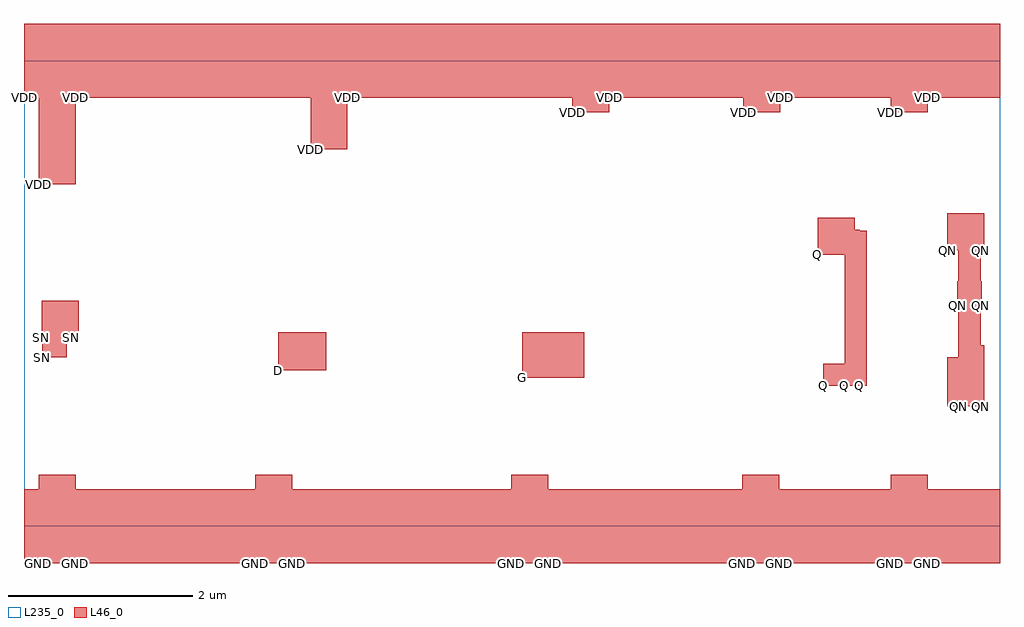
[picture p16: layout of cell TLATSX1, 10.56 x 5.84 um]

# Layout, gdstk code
import gdstk
lib = gdstk.Library(unit=1e-6, precision=1e-09)
def R(c, l, rs):  # rectangles x0, y0, x1, y1
    for r in rs: c.add(gdstk.rectangle(r[:2], r[2:], *l))
L46_0 = (46, 0)
L235_0 = (235, 0)

tlatsx1 = lib.new_cell('TLATSX1')
R(tlatsx1, L46_0, [(0,-0.4,0.16,0.4), (0.16,-0.4,0.56,0.56), (0.56,-0.4,2.5,0.4), (2.5,-0.4,2.9,0.56), (2.9,-0.4,5.27,0.4), (5.27,-0.4,5.67,0.56), (5.67,-0.4,7.77,0.4), (7.77,-0.4,8.17,0.56), (8.17,-0.4,9.38,0.4), (9.38,-0.4,9.78,0.56), (9.78,-0.4,10.56,0.4), (9.99,1.3,10.11,1.83), (10.11,1.3,10.35,3.39), (10.35,1.3,10.39,1.96), (8.65,1.52,8.88,1.76), (8.88,1.52,8.99,3.34), (8.99,1.52,9.04,3.21), (9.04,1.52,9.12,3.2), (5.39,1.61,6.06,2.1), (2.75,1.69,3.27,2.1), (0.2,1.83,0.46,2.44), (0.46,2.01,0.51,2.44), (0.19,2.04,0.2,2.44), (0.51,2.04,0.59,2.44), (10.1,2.39,10.11,2.65), (10.35,2.39,10.36,2.65), (8.59,2.94,8.88,3.34), (9.99,2.99,10.11,3.39), (10.35,2.99,10.39,3.39), (0.16,3.7,0.56,5.44), (3.1,4.08,3.5,5.44), (5.93,4.48,6.33,5.44), (7.78,4.48,8.18,5.44), (9.38,4.48,9.78,5.44), (0,4.64,0.16,5.44), (0.56,4.64,3.1,5.44), (3.5,4.64,5.93,5.44), (6.33,4.64,7.78,5.44), (8.18,4.64,9.38,5.44), (9.78,4.64,10.56,5.44)])
R(tlatsx1, L235_0, [(0,0,10.56,5.04)])
tlatsx1.add(gdstk.Label('SN', (0.51,2.04), layer=101, texttype=0))
tlatsx1.add(gdstk.Label('SN', (0.46,2.01), layer=101, texttype=0))
tlatsx1.add(gdstk.Label('SN', (0.2,1.83), layer=101, texttype=0))
tlatsx1.add(gdstk.Label('SN', (0.19,2.04), layer=101, texttype=0))
tlatsx1.add(gdstk.Label('QN', (10.35,1.3), layer=101, texttype=0))
tlatsx1.add(gdstk.Label('QN', (10.35,2.99), layer=101, texttype=0))
tlatsx1.add(gdstk.Label('QN', (10.35,2.39), layer=101, texttype=0))
tlatsx1.add(gdstk.Label('QN', (10.11,1.3), layer=101, texttype=0))
tlatsx1.add(gdstk.Label('QN', (9.99,1.3), layer=101, texttype=0))
tlatsx1.add(gdstk.Label('QN', (10.1,2.39), layer=101, texttype=0))
tlatsx1.add(gdstk.Label('QN', (9.99,2.99), layer=101, texttype=0))
tlatsx1.add(gdstk.Label('Q', (9.04,1.52), layer=101, texttype=0))
tlatsx1.add(gdstk.Label('Q', (8.99,1.52), layer=101, texttype=0))
tlatsx1.add(gdstk.Label('Q', (8.88,1.52), layer=101, texttype=0))
tlatsx1.add(gdstk.Label('Q', (8.65,1.52), layer=101, texttype=0))
tlatsx1.add(gdstk.Label('Q', (8.59,2.94), layer=101, texttype=0))
tlatsx1.add(gdstk.Label('G', (5.39,1.61), layer=101, texttype=0))
tlatsx1.add(gdstk.Label('D', (2.75,1.69), layer=101, texttype=0))
tlatsx1.add(gdstk.Label('VDD', (9.78,4.64), layer=101, texttype=0))
tlatsx1.add(gdstk.Label('VDD', (9.38,4.48), layer=101, texttype=0))
tlatsx1.add(gdstk.Label('VDD', (8.18,4.64), layer=101, texttype=0))
tlatsx1.add(gdstk.Label('VDD', (7.78,4.48), layer=101, texttype=0))
tlatsx1.add(gdstk.Label('VDD', (6.33,4.64), layer=101, texttype=0))
tlatsx1.add(gdstk.Label('VDD', (5.93,4.48), layer=101, texttype=0))
tlatsx1.add(gdstk.Label('VDD', (3.5,4.64), layer=101, texttype=0))
tlatsx1.add(gdstk.Label('VDD', (3.1,4.08), layer=101, texttype=0))
tlatsx1.add(gdstk.Label('VDD', (0.56,4.64), layer=101, texttype=0))
tlatsx1.add(gdstk.Label('VDD', (0.16,3.7), layer=101, texttype=0))
tlatsx1.add(gdstk.Label('VDD', (0,4.64), layer=101, texttype=0))
tlatsx1.add(gdstk.Label('GND', (9.78,-0.4), layer=101, texttype=0))
tlatsx1.add(gdstk.Label('GND', (9.38,-0.4), layer=101, texttype=0))
tlatsx1.add(gdstk.Label('GND', (8.17,-0.4), layer=101, texttype=0))
tlatsx1.add(gdstk.Label('GND', (7.77,-0.4), layer=101, texttype=0))
tlatsx1.add(gdstk.Label('GND', (5.67,-0.4), layer=101, texttype=0))
tlatsx1.add(gdstk.Label('GND', (5.27,-0.4), layer=101, texttype=0))
tlatsx1.add(gdstk.Label('GND', (2.9,-0.4), layer=101, texttype=0))
tlatsx1.add(gdstk.Label('GND', (2.5,-0.4), layer=101, texttype=0))
tlatsx1.add(gdstk.Label('GND', (0.56,-0.4), layer=101, texttype=0))
tlatsx1.add(gdstk.Label('GND', (0.16,-0.4), layer=101, texttype=0))
tlatsx1.add(gdstk.Label('GND', (0,-0.4), layer=101, texttype=0))

lib.write_gds('TLATSX1.gds')
